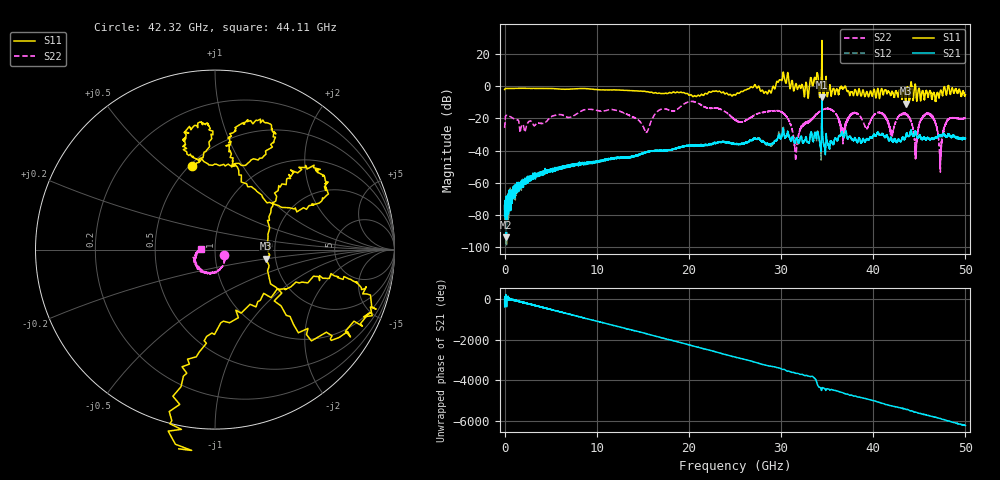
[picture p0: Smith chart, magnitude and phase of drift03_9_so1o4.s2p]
!Created with skrf (http://scikit-rf.org).
# Hz S RI R 50.0
!freq ReS11 ImS11 ReS21 ImS21 ReS12 ImS12 ReS22 ImS22
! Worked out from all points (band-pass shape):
!   10000 points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, 5.3 MHz to 50 GHz, reference 50 ohm
!   highest |S21| = -6.98 dB at 34.43 GHz (marker M1); lowest = -93.8 dB at 190.3 MHz (marker M2)
!   |S21| within 3 dB of the highest: 34.42719 GHz to 34.43522 GHz (8.028 MHz wide, 0.0233 % of centre)
!   lowest |S11| = -10.8 dB at 43.54 GHz (marker M3), VSWR 1.81, Z = 88.7 - j9.62 ohm
!   |S11| at or under -10 dB: 43.50753 GHz to 43.55514 GHz (47.6 MHz wide, 0.109 % of centre)
!   |S22| runs from -53.3 to -9.4 dB; largest |S21 - S12| = 0.12
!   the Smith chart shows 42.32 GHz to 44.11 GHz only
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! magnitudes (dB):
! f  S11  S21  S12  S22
! 5.3 MHz  -2.1  -73.5  -74.0  -25.8
! 190.3 MHz  -1.4  -93.8  -79.0  -18.0
! 2.755 GHz  -1.4  -57.6  -56.2  -21.6
! 8.34 GHz  -1.5  -48.0  -47.8  -15.4
! 15.38 GHz  -3.4  -41.2  -41.0  -28.5
! 16.67 GHz  -4.4  -40.1  -40.0  -15.3
! 20.45 GHz  -6.5  -36.7  -37.0  -9.5
! 25.01 GHz  -5.5  -36.0  -36.0  -20.9
! 29.96 GHz  3.9  -32.6  -32.2  -15.9
! 31.61 GHz  1.5  -33.5  -33.6  -44.6
! 33.34 GHz  2.6  -30.1  -30.5  -20.5
! 34.43 GHz  28.4  -7.0  -8.6  -14.6
! 36.69 GHz  -1.5  -29.7  -29.9  -26.6
! 37.93 GHz  -4.5  -33.0  -32.8  -16.8
! 41.67 GHz  -3.2  -33.5  -33.5  -23.9
! 43.54 GHz  -10.8  -31.1  -31.1  -17.5
! 44.6 GHz  -0.6  -28.8  -28.7  -45.1
! 45.27 GHz  -4.2  -32.8  -33.1  -19.6
! 46.25 GHz  -4.3  -32.8  -32.8  -18.0
! 47.28 GHz  -3.0  -30.7  -30.8  -47.8
! 48.1 GHz  -0.2  -30.8  -30.2  -20.6
! 50 GHz  -5.4  -32.4  -32.7  -19.7
